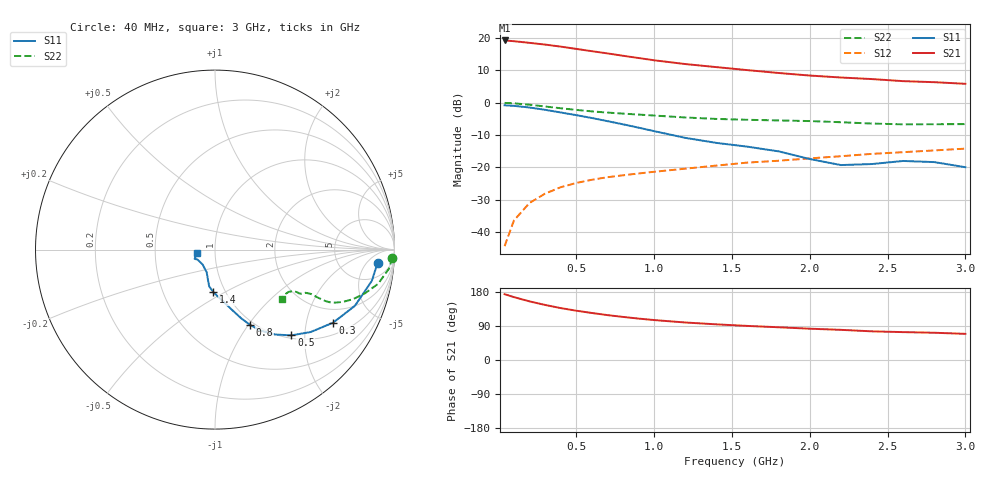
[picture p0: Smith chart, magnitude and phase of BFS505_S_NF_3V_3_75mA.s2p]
! Filename:  BFS505D.S2P  Version:  4.0
! Philips part #: BFS505  Date: Jun 1994
! Bias condition: Vce=3V, Ic=3.75mA
#  MHz  S  MA  R  50
! Freq  S11  S21  S12  S22  !GUM [dB]
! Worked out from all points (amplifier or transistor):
!   21 points, 40 MHz to 3 GHz, reference 50 ohm
!   highest |S21| = 19.2 dB at 40 MHz (marker M1)
!   |S21| within 3 dB of that: start of sweep to 555.1 MHz
!   unconditionally stable (mu >= 1): 1.245 GHz to end of sweep
!   at 300 MHz: K = 0.39, MSG = 23.1 dB, |S12| = -28.2 dB
!   at 1 GHz: K = 0.89, MSG = 17.3 dB, |S12| = -21.4 dB
!   at 3 GHz: K = 1.17, MAG = 7.5 dB, |S12| = -14.2 dB
!   lowest NFmin = 1.20 dB at 500 MHz
!   S11 on the Smith chart (normalised r, x): 40 MHz: 12, -10; 300 MHz: 1.42, -2.88; 500 MHz: 1.06, -1.71; 800 MHz: 0.95, -1.02; 1.4 GHz: 0.88, -0.44; 3 GHz: 0.82, -0.04
40  0.909 -4.6  9.162 173.7  0.006 86.4  0.989 -2.6
100  0.891 -11.3  8.921 165.9  0.015 82.2  0.975 -6.3
200  0.84 -21.9  8.412 154.7  0.028 74.9  0.928 -11.9
300  0.774 -31.7  7.908 145.3  0.039 70.4  0.871 -16.2
400  0.704 -40.7  7.358 137.0  0.049 67.2  0.818 -19.7
500  0.64 -48.3  6.782 130.1  0.057 64.9  0.771 -22.2
600  0.578 -54.9  6.255 124.1  0.064 63.8  0.732 -23.8
700  0.517 -60.7  5.781 118.5  0.07 63.3  0.701 -24.7
800  0.462 -65.1  5.313 113.7  0.075 63.2  0.676 -25.0
900  0.41 -69.1  4.903 109.3  0.08 62.9  0.653 -25.0
1000  0.362 -73.0  4.523 105.4  0.085 63.0  0.631 -25.0
1200  0.285 -82.2  3.953 99.0  0.095 63.2  0.589 -24.8
1400  0.238 -92.1  3.544 94.1  0.106 64.4  0.559 -25.5
1600  0.208 -98.9  3.182 89.9  0.118 64.8  0.542 -26.9
1800  0.176 -102.7  2.874 86.4  0.126 66.0  0.53 -27.5
2000  0.134 -110.3  2.624 82.6  0.137 66.5  0.518 -27.4
2200  0.108 -129.8  2.447 79.6  0.148 67.1  0.497 -27.8
2400  0.112 -150.3  2.314 75.6  0.161 67.3  0.474 -29.7
2600  0.125 -155.4  2.149 73.6  0.171 67.2  0.461 -33.0
2800  0.12 -158.1  2.071 71.9  0.182 68.4  0.463 -35.4
3000  0.1 -167.8  1.954 69.0  0.194 68.7  0.465 -36.3
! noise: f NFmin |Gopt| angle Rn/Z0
500  1.2  0.591  8  0.57
900  1.35  0.503  9  0.63
2000  2  0.352  41  0.49
